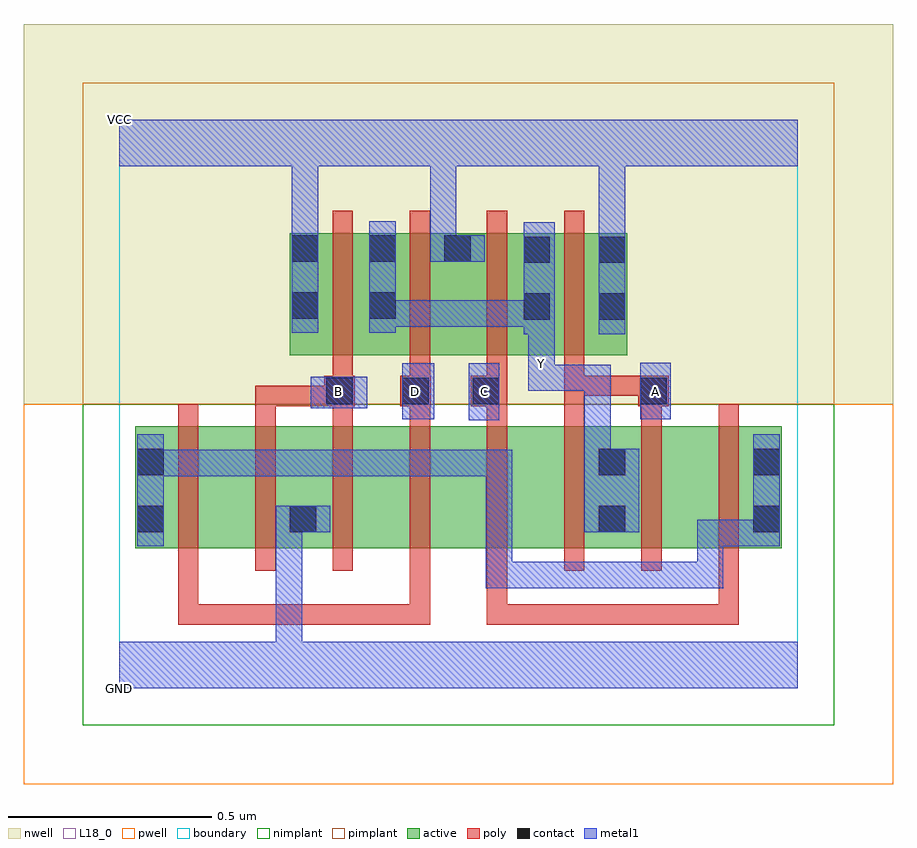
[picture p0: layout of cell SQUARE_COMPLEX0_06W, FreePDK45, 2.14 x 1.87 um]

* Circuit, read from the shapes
.subckt SQUARE_COMPLEX0_06W A B C D GND VCC Y
M1 n1 D n2 VSUBS nfet w=0.3u l=0.05u
M2 GND B n1 VSUBS nfet w=0.3u l=0.05u
M3 n3 B GND VSUBS nfet w=0.3u l=0.05u
M4 n4 D n3 VSUBS nfet w=0.3u l=0.05u
M5 n5 C n4 VSUBS nfet w=0.3u l=0.05u
M6 Y A n5 VSUBS nfet w=0.3u l=0.05u
M7 n6 A Y VSUBS nfet w=0.3u l=0.05u
M8 n2 C n6 VSUBS nfet w=0.3u l=0.05u
M9 Y B VCC n7 pfet w=0.3u l=0.05u
M10 VCC D Y n7 pfet w=0.3u l=0.05u
M11 Y C VCC n7 pfet w=0.3u l=0.05u
M12 VCC A Y n7 pfet w=0.3u l=0.05u
.ends

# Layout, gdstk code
import gdstk
lib = gdstk.Library(unit=1e-6, precision=1e-09)
def R(c, l, rs):  # rectangles x0, y0, x1, y1
    for r in rs: c.add(gdstk.rectangle(r[:2], r[2:], *l))
def A(c, l, x, y, w, h, nx, ny, dx, dy):  # array of equal rectangles
    R(c, l, [(x+i*dx, y+j*dy, x+i*dx+w, y+j*dy+h) for i in range(nx) for j in range(ny)])
active = (1, 0)
pwell = (2, 0)
nwell = (3, 0)
nimplant = (4, 0)
pimplant = (5, 0)
poly = (9, 0)
contact = (10, 0)
metal1 = (11, 0)
L18_0 = (18, 0)
boundary = (235, 0)

square_complex0_06w = lib.new_cell('SQUARE_COMPLEX0_06W')
R(square_complex0_06w, active, [(0.04,0.345,0.115,0.645), (0.04,0.345,0.265,0.645), (0.265,0.345,0.49,0.645), (0.415,0.345,0.49,0.645), (0.415,0.345,0.645,0.645), (0.645,0.345,0.835,0.645), (0.835,0.345,1.025,0.645), (1.025,0.345,1.25,0.645), (1.175,0.345,1.25,0.645), (1.175,0.345,1.405,0.645), (1.405,0.345,1.63,0.645), (1.555,0.345,1.63,0.645), (0.42,0.82,0.495,1.12), (0.42,0.82,0.685,1.12), (0.61,0.82,0.685,1.12), (0.61,0.82,0.87,1.12), (0.795,0.82,0.87,1.12), (0.795,0.82,1.065,1.12), (0.99,0.82,1.065,1.117), (0.99,0.82,1.25,1.12), (1.175,0.82,1.25,1.117)])
R(square_complex0_06w, pwell, [(-0.235,-0.235,1.905,0.7)])
R(square_complex0_06w, nwell, [(-0.235,0.7,1.905,1.635)])
R(square_complex0_06w, nimplant, [(-0.09,-0.09,1.76,0.7)])
R(square_complex0_06w, pimplant, [(-0.09,0.7,1.76,1.49)])
A(square_complex0_06w, poly, 0.145, 0.29, 0.05, 0.41, 8, 1, 0.19, 0)
A(square_complex0_06w, poly, 0.335, 0.65, 0.05, 0.095, 4, 1, 0.19, 0)
A(square_complex0_06w, poly, 0.525, 0.72, 0.05, 0.095, 4, 1, 0.19, 0)
A(square_complex0_06w, poly, 0.525, 0.765, 0.05, 0.41, 4, 1, 0.19, 0)
R(square_complex0_06w, poly, [(0.145,0.157,0.195,0.34), (0.145,0.157,0.195,0.207), (0.145,0.157,0.195,0.207), (0.145,0.157,0.195,0.207), (0.145,0.157,0.422,0.207), (0.372,0.157,0.422,0.207), (0.372,0.157,0.422,0.207), (0.372,0.157,0.555,0.207), (0.505,0.157,0.555,0.207), (0.505,0.157,0.555,0.207), (0.505,0.157,0.765,0.207), (0.715,0.157,0.765,0.34), (0.715,0.157,0.765,0.207), (0.715,0.157,0.765,0.207), (0.715,0.157,0.765,0.207), (0.905,0.157,0.955,0.34), (0.905,0.157,0.955,0.207), (0.905,0.157,0.955,0.207), (0.905,0.157,0.955,0.207), (0.905,0.157,1.195,0.207), (1.145,0.157,1.195,0.207), (1.145,0.157,1.327,0.207), (1.277,0.157,1.327,0.207), (1.277,0.157,1.327,0.207), (1.277,0.157,1.327,0.207), (1.277,0.157,1.525,0.207), (1.475,0.157,1.525,0.34), (1.475,0.157,1.525,0.207), (1.475,0.157,1.525,0.207), (1.475,0.157,1.525,0.207), (1.095,0.65,1.145,0.77), (1.285,0.65,1.335,0.745), (0.335,0.695,0.385,0.745), (0.335,0.695,0.385,0.745), (0.335,0.695,0.385,0.745), (0.335,0.695,0.555,0.745), (0.505,0.695,0.58,0.77), (0.692,0.695,0.767,0.77), (0.865,0.695,0.955,0.77), (1.277,0.695,1.352,0.77), (1.095,0.72,1.145,0.77), (1.095,0.72,1.327,0.77), (1.277,0.72,1.327,0.77), (1.277,0.72,1.327,0.77)])
R(square_complex0_06w, contact, [(0.045,0.385,0.11,0.45), (0.42,0.385,0.485,0.45), (1.18,0.385,1.245,0.45), (1.56,0.385,1.625,0.45), (0.045,0.525,0.11,0.59), (1.18,0.525,1.245,0.59), (1.56,0.525,1.625,0.59), (0.51,0.7,0.575,0.765), (0.697,0.7,0.762,0.765), (0.87,0.7,0.935,0.765), (1.282,0.7,1.347,0.765), (0.995,0.907,1.06,0.972), (1.18,0.907,1.245,0.972), (0.425,0.91,0.49,0.975), (0.615,0.91,0.68,0.975), (0.995,1.047,1.06,1.112), (1.18,1.047,1.245,1.112), (0.425,1.05,0.49,1.115), (0.615,1.05,0.68,1.115), (0.8,1.05,0.865,1.115)])
R(square_complex0_06w, metal1, [(0,0,1.67,0.115), (0.385,0.05,0.45,0.115), (0.385,0.05,0.45,0.115), (0.385,0.05,0.45,0.45), (0.902,0.247,0.967,0.312), (0.902,0.247,1.21,0.312), (0.902,0.247,0.967,0.587), (1.145,0.247,1.21,0.312), (1.145,0.247,1.35,0.312), (1.285,0.247,1.35,0.312), (1.285,0.247,1.35,0.312), (1.285,0.247,1.35,0.312), (1.285,0.247,1.487,0.312), (1.422,0.247,1.487,0.312), (1.422,0.247,1.487,0.415), (0.045,0.35,0.11,0.625), (1.422,0.35,1.625,0.415), (1.422,0.35,1.487,0.415), (1.422,0.35,1.487,0.415), (1.422,0.35,1.487,0.415), (1.56,0.35,1.625,0.625), (0.385,0.385,0.45,0.45), (0.385,0.385,0.45,0.45), (0.385,0.385,0.52,0.45), (1.145,0.385,1.28,0.59), (0.045,0.522,0.11,0.587), (0.045,0.522,0.11,0.587), (0.045,0.522,0.247,0.587), (0.182,0.522,0.247,0.587), (0.182,0.522,0.352,0.587), (0.287,0.522,0.352,0.587), (0.287,0.522,0.385,0.587), (0.32,0.522,0.385,0.587), (0.32,0.522,0.542,0.587), (0.477,0.522,0.68,0.587), (0.477,0.522,0.542,0.587), (0.477,0.522,0.542,0.587), (0.477,0.522,0.542,0.587), (0.615,0.522,0.68,0.587), (0.615,0.522,0.83,0.587), (0.765,0.522,0.83,0.587), (0.765,0.522,0.967,0.587), (0.902,0.522,0.967,0.587), (0.902,0.522,0.967,0.587), (0.902,0.522,0.967,0.587), (1.145,0.525,1.21,0.797), (0.86,0.66,0.935,0.8), (0.697,0.662,0.775,0.8), (1.282,0.662,1.357,0.802), (0.472,0.69,0.61,0.767), (1.007,0.732,1.21,0.797), (1.007,0.732,1.072,0.867), (1.145,0.732,1.21,0.797), (1.145,0.732,1.21,0.797), (1.145,0.732,1.21,0.797), (1.007,0.802,1.072,0.937), (0.995,0.872,1.072,1.147), (1.18,0.872,1.245,1.147), (0.425,0.875,0.49,1.15), (0.615,0.875,0.68,1.15), (0.615,0.89,0.68,0.955), (0.615,0.89,0.68,0.955), (0.615,0.89,0.817,0.955), (0.752,0.89,0.817,0.955), (0.752,0.89,1.06,0.955), (0.995,0.89,1.06,0.955), (0.995,0.89,1.06,0.955), (0.765,1.05,0.83,1.115), (0.765,1.05,0.83,1.115), (0.765,1.05,0.83,1.35), (0.765,1.05,0.9,1.115), (1.18,1.082,1.245,1.147), (1.18,1.082,1.245,1.147), (1.18,1.082,1.245,1.35), (0.425,1.085,0.49,1.15), (0.425,1.085,0.49,1.15), (0.425,1.085,0.49,1.35), (0,1.285,1.67,1.4)])
R(square_complex0_06w, L18_0, [(0,0,1.67,0.115), (0.385,0.05,0.45,0.115), (0.385,0.05,0.45,0.115), (0.385,0.05,0.45,0.45), (0.385,0.385,0.45,0.45), (0.385,0.385,0.45,0.45), (0.385,0.385,0.52,0.45), (1.145,0.385,1.28,0.59), (1.145,0.525,1.21,0.797), (0.86,0.66,0.935,0.8), (0.697,0.662,0.775,0.8), (1.282,0.662,1.357,0.802), (0.472,0.69,0.61,0.767), (0.507,0.697,0.572,0.762), (0.697,0.697,0.762,0.762), (0.867,0.697,0.932,0.762), (1.287,0.697,1.352,0.762), (1.007,0.732,1.072,0.867), (1.007,0.732,1.21,0.797), (1.145,0.732,1.21,0.797), (1.145,0.732,1.21,0.797), (1.145,0.732,1.21,0.797), (1.007,0.767,1.072,0.832), (1.007,0.802,1.072,0.937), (0.995,0.872,1.072,1.147), (1.18,0.872,1.245,1.147), (0.425,0.875,0.49,1.15), (0.615,0.875,0.68,1.15), (0.615,0.89,0.68,0.955), (0.615,0.89,0.68,0.955), (0.615,0.89,0.817,0.955), (0.752,0.89,0.817,0.955), (0.752,0.89,1.06,0.955), (0.995,0.89,1.06,0.955), (0.995,0.89,1.06,0.955), (0.765,1.05,0.83,1.115), (0.765,1.05,0.83,1.115), (0.765,1.05,0.9,1.115), (0.765,1.05,0.83,1.35), (1.18,1.082,1.245,1.147), (1.18,1.082,1.245,1.147), (1.18,1.082,1.245,1.35), (0.425,1.085,0.49,1.15), (0.425,1.085,0.49,1.15), (0.425,1.085,0.49,1.35), (0,1.285,1.67,1.4)])
R(square_complex0_06w, boundary, [(0,0,1.67,1.4)])
square_complex0_06w.add(gdstk.Label('A', (1.32,0.73), layer=11, texttype=0))
square_complex0_06w.add(gdstk.Label('B', (0.54,0.73), layer=11, texttype=0))
square_complex0_06w.add(gdstk.Label('C', (0.9,0.73), layer=11, texttype=0))
square_complex0_06w.add(gdstk.Label('D', (0.73,0.73), layer=11, texttype=0))
square_complex0_06w.add(gdstk.Label('Y', (1.04,0.8), layer=11, texttype=0))
square_complex0_06w.add(gdstk.Label('VCC', (0,1.4), layer=11, texttype=0))
square_complex0_06w.add(gdstk.Label('GND', (0,0), layer=11, texttype=0))

lib.write_gds('SQUARE_COMPLEX0_06W.gds')
